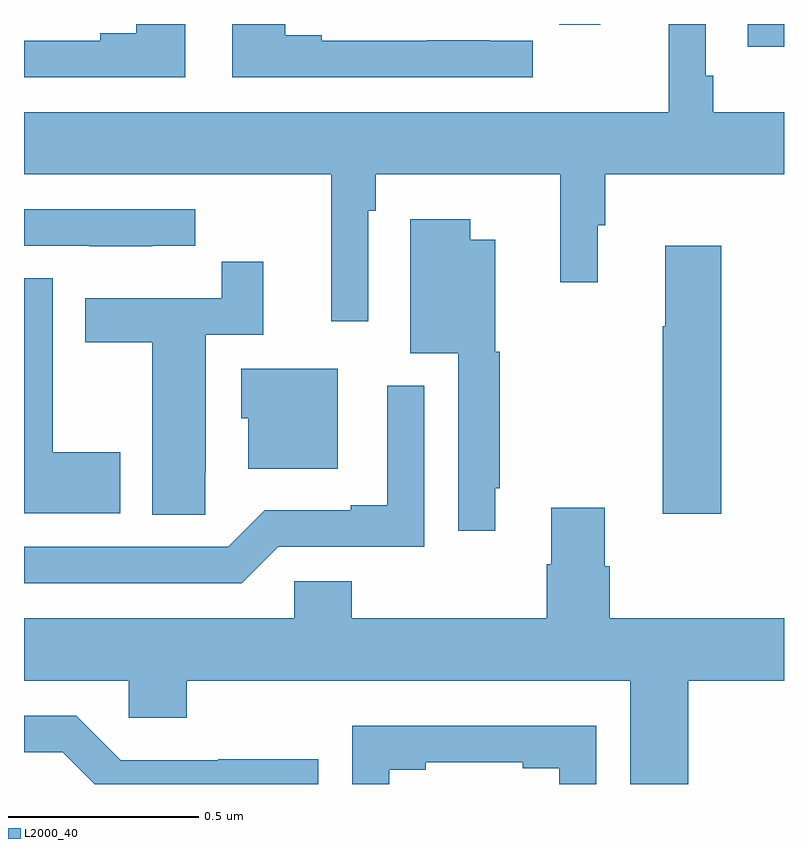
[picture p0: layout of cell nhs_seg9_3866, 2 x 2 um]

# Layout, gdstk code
import gdstk
lib = gdstk.Library(unit=1e-6, precision=1e-09)
def R(c, l, rs):  # rectangles x0, y0, x1, y1
    for r in rs: c.add(gdstk.rectangle(r[:2], r[2:], *l))
def P(c, l, *ps):  # polygons
    for p in ps: c.add(gdstk.Polygon(p, *l))
L2000_40 = (2000, 40)

nhs_seg9_3866 = lib.new_cell('nhs_seg9_3866')
R(nhs_seg9_3866, L2000_40, [(160.904,1179.44,161,1179.5), (160.408,1179.498,160.517,1179.5)])
P(nhs_seg9_3866, L2000_40, [(160.339,1179.456),(160.226,1179.456),(160.226,1179.457),(160.06,1179.457),(160.06,1179.456),(159.784,1179.456),(159.784,1179.471),(159.688,1179.471),(159.688,1179.5),(159.548,1179.5),(159.548,1179.36),(160.339,1179.36)],
  [(159.424,1179.5),(159.296,1179.5),(159.296,1179.476),(159.2,1179.476),(159.2,1179.456),(159,1179.456),(159,1179.36),(159.424,1179.36)],
  [(159.906,1179.008),(159.926,1179.008),(159.926,1179.104),(160.411,1179.104),(160.411,1178.82),(160.51,1178.82),(160.51,1178.97),(160.529,1178.97),(160.529,1179.104),(161,1179.104),(161,1179.268),(160.814,1179.268),(160.814,1179.364),(160.794,1179.364),(160.794,1179.5),(160.697,1179.5),(160.697,1179.268),(159,1179.268),(159,1179.104),(159.809,1179.104),(159.809,1178.718),(159.906,1178.718)],
  [(159.338,1178.916),(159.451,1178.916),(159.451,1179.012),(159,1179.012),(159,1178.916),(159.172,1178.916),(159.172,1178.915),(159.338,1178.915)],
  [(160.24,1178.278),(160.252,1178.278),(160.252,1178.637),(160.24,1178.637),(160.24,1178.932),(160.174,1178.932),(160.174,1178.986),(160.016,1178.986),(160.016,1178.633),(160.143,1178.633),(160.143,1178.166),(160.24,1178.166)],
  [(160.835,1178.917),(160.688,1178.917),(160.688,1178.704),(160.681,1178.704),(160.681,1178.211),(160.835,1178.211)],
  [(159.477,1178.32),(159.478,1178.32),(159.478,1178.682),(159.629,1178.682),(159.629,1178.875),(159.52,1178.875),(159.52,1178.778),(159.161,1178.778),(159.161,1178.662),(159.338,1178.662),(159.338,1178.209),(159.477,1178.209)],
  [(159.253,1178.373),(159.076,1178.373),(159.076,1178.831),(159,1178.831),(159,1178.213),(159.253,1178.213)],
  [(159.826,1178.593),(159.572,1178.593),(159.572,1178.463),(159.59,1178.463),(159.59,1178.33),(159.826,1178.33)],
  [(159.669,1178.124),(160.053,1178.124),(160.053,1178.548),(159.956,1178.548),(159.956,1178.233),(159.86,1178.233),(159.86,1178.22),(159.633,1178.22),(159.537,1178.124),(159,1178.124),(159,1178.028),(159.573,1178.028)],
  [(160.748,1177.772),(161,1177.772),(161,1177.936),(160.541,1177.936),(160.541,1178.073),(160.528,1178.073),(160.528,1178.227),(160.388,1178.227),(160.388,1178.078),(160.376,1178.078),(160.376,1177.936),(159.863,1177.936),(159.863,1178.034),(159.711,1178.034),(159.711,1177.936),(159,1177.936),(159,1177.772),(159.276,1177.772),(159.276,1177.674),(159.428,1177.674),(159.428,1177.772),(160.595,1177.772),(160.595,1177.5),(160.748,1177.5)],
  [(159.774,1177.565),(159.511,1177.565),(159.511,1177.563),(159.255,1177.563),(159.138,1177.68),(159,1177.68),(159,1177.584),(159.102,1177.584),(159.186,1177.5),(159.774,1177.5)],
  [(159.961,1177.537),(160.057,1177.537),(160.057,1177.557),(160.313,1177.557),(160.313,1177.542),(160.409,1177.542),(160.409,1177.5),(160.506,1177.5),(160.506,1177.653),(159.864,1177.653),(159.864,1177.5),(159.961,1177.5)])

lib.write_gds('nhs_seg9_3866.gds')
